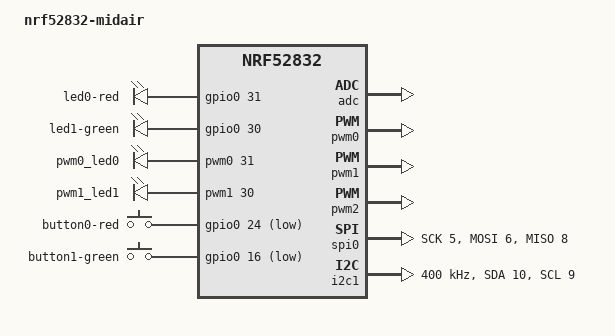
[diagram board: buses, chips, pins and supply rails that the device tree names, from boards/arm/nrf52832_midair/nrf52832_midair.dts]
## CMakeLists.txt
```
# nrf52832-midair configuration
#
# Copyright (c) 2020 Andrew Fernandes <andrew@fernandes.org>
# SPDX-License-Identifier: Apache-2.0

cmake_minimum_required(VERSION 3.17.1)

# -----------------------------------------------------------------------------

# Set the 'BOARD_ROOT' property for CLion
set(BOARD_ROOT "$ENV{PROJECT_DIR}")

# The C++ Standard version is set in 'prj.conf' via the 'CONFIG_STD_CPP17' setting
#
set_property(GLOBAL PROPERTY CSTD "gnu17") # https://gcc.gnu.org/onlinedocs/gcc/Standards.html

# https://docs.zephyrproject.org/latest/guides/modules.html#without-west
#
# See the list of current modules in "${CMAKE_SOURCE_DIR}/zephyr/west.yml"
#
set(ZEPHYR_MODULES
    "${CMAKE_SOURCE_DIR}/modules/cmsis"
    "${CMAKE_SOURCE_DIR}/modules/nordic"
    "${CMAKE_SOURCE_DIR}/modules/segger"
    "${CMAKE_SOURCE_DIR}/modules/stmemsc"
)
#
include($ENV{ZEPHYR_BASE}/cmake/app/boilerplate.cmake NO_POLICY_SCOPE)

# -----------------------------------------------------------------------------

project(midair)

include_directories(
    "src"
    "src/dev"
    "src/ble"
)

set(CXX_SOURCES
    "src/main.cpp"
    "src/dev/devices.cpp"
    "src/dev/leds.cpp"
    "src/dev/buttons.cpp"
    "src/dev/battery.cpp"
    "src/dev/lsm6dsox.cpp"
    "src/dev/mmc5883ma.cpp"
)

target_sources(app PRIVATE ${CXX_SOURCES})

# -----------------------------------------------------------------------------
# Done
```

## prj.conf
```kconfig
# nrf52832-midair configuration
#
# Copyright (c) 2020 Andrew Fernandes <andrew@fernandes.org>
# SPDX-License-Identifier: Apache-2.0

CONFIG_BOOTLOADER_MCUBOOT=n

CONFIG_DEBUG_INFO=y
CONFIG_DEBUG_OPTIMIZATIONS=y
CONFIG_SPEED_OPTIMIZATIONS=n
CONFIG_SIZE_OPTIMIZATIONS=n

CONFIG_LOG=y
CONFIG_LOG_PRINTK=y
CONFIG_LOG_BUFFER_SIZE=2048
CONFIG_LOG_STRDUP_MAX_STRING=256
CONFIG_LOG_PRINTK_MAX_STRING_LENGTH=256
CONFIG_LOG_PROCESS_THREAD_SLEEP_MS=100

CONFIG_CONSOLE=y
CONFIG_RTT_CONSOLE=y

CONFIG_USE_SEGGER_RTT=y

CONFIG_SEGGER_RTT_BUFFER_SIZE_UP=2048
CONFIG_SEGGER_RTT_PRINTF_BUFFER_SIZE=256

CONFIG_MAIN_STACK_SIZE=2048
CONFIG_SYSTEM_WORKQUEUE_STACK_SIZE=4096

CONFIG_FLOAT=y
CONFIG_FP_SHARING=y

CONFIG_CPLUSPLUS=y
CONFIG_STD_CPP17=y
CONFIG_NEWLIB_LIBC=y
CONFIG_LIB_CPLUSPLUS=y
CONFIG_EXCEPTIONS=n
CONFIG_RTTI=n

#|CONFIG_BT=y
#|CONFIG_BT_DEBUG_LOG=n
#|#
#|#|CONFIG_BT_SMP=y
#|CONFIG_BT_CENTRAL=y
#|CONFIG_BT_GATT_CLIENT=y
#|CONFIG_BT_PERIPHERAL=y
#|#
#|CONFIG_BT_ATT_PREPARE_COUNT=5
#|CONFIG_BT_GAP_PERIPHERAL_PREF_PARAMS=y
#|CONFIG_BT_PERIPHERAL_PREF_MIN_INT=6
#|CONFIG_BT_PERIPHERAL_PREF_MAX_INT=12
#|CONFIG_BT_PERIPHERAL_PREF_SLAVE_LATENCY=0
#|CONFIG_BT_PERIPHERAL_PREF_TIMEOUT=200
#|#
#|CONFIG_BT_RX_BUF_LEN=258
#|CONFIG_BT_CTLR_TX_BUFFER_SIZE=251
#|CONFIG_BT_CTLR_DATA_LENGTH_MAX=251
#|#
#|CONFIG_BT_CTLR_CHAN_SEL_2=y
#|#
#|CONFIG_BT_GATT_DIS=y
#|CONFIG_BT_GATT_DIS_PNP=n
#|CONFIG_BT_DEVICE_NAME="midair"
#|#
#|CONFIG_BT_LL_SW_SPLIT=y
```

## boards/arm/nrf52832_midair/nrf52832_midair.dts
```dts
// nrf52832-midair configuration
//
// Copyright (c) 2020 Andrew Fernandes <andrew@fernandes.org>
// SPDX-License-Identifier: Apache-2.0

/dts-v1/;
#include <nordic/nrf52832_ciaa.dtsi>

/ {
    model = "nrf52832-midair";
    compatible = "fernandes,nrf52832-midair", "nordic,nrf52832-ciaa", "nordic,nrf52832", "nordic,nrf52";

    chosen {
        zephyr,sram = &sram0;
        zephyr,flash = &flash0;
        zephyr,code-partition = &slot0_partition;
    };

    leds {

        compatible = "gpio-leds";

        led0_red: led_0 {
            gpios = <&gpio0 31 (GPIO_ACTIVE_HIGH)>; // GPIO_OUTPUT
            label = "led0-red";
        };

        led1_green: led_1 {
            gpios = <&gpio0 30 (GPIO_ACTIVE_HIGH)>; // GPIO_OUTPUT
            label = "led1-green";
        };

    };

    pwmleds {

        compatible = "pwm-leds";

        pwm0_led0: pwm_led_0 {
            pwms = <&pwm0 31>;
        };

        pwm1_led1: pwm_led_1 {
            pwms = <&pwm1 30>;
        };

    };

    buttons {

        compatible = "gpio-keys";

        button0_red: button_0 {
            gpios = <&gpio0 24 (GPIO_ACTIVE_LOW | GPIO_PULL_UP)>; // GPIO_INPUT
            label = "button0-red";
        };

        button1_green: button_1 {
            gpios = <&gpio0 16 (GPIO_ACTIVE_LOW | GPIO_PULL_UP)>; // GPIO_INPUT
            label = "button1-green";
        };

    };

    aliases {

        led0 = &led0_red;
        led1 = &led1_green;

        led0-red   = &led0_red;
        led1-green = &led1_green;

        pwm0-led0 = &pwm0_led0;
        pwm1-led1 = &pwm1_led1;

        pwm0-red = &pwm0_led0;
        pwm1-green = &pwm1_led1;

        pwm0-led0-red = &pwm0_led0;
        pwm1-led1-green = &pwm1_led1;

        button0 = &button0_red;
        button1 = &button1_green;

        button0-red   = &button0_red;
        button1-green = &button1_green;

        sw0 = &button0_red;
        sw1 = &button1_green;

        sw0-red = &button0_red;
        sw1-green  = &button1_green;

    };

};

&gpio0 {
    status = "okay";
};

&gpiote {
    status = "okay";
};

&adc {
    status = "okay";
    label = "saadc-battery";
 // enable-gpios = <&gpio0 4 GPIO_INPUT>; // AIN2
};

&pwm0 {
    status = "okay";
    label = "pwm0-red";
    ch0-pin = <31>;
};

&pwm1 {
    status = "okay";
    label = "pwm1-green";
    ch0-pin = <30>;
};

&pwm2 {
    status = "okay";
};

&spi0 {
    status = "okay";
    label = "accelerometer";
    compatible = "nordic,nrf-spim";
    sck-pin  = <5>;
    mosi-pin = <6>;
    miso-pin = <8>;
    cs-gpios = <&gpio0 3 (GPIO_ACTIVE_LOW)>; // GPIO_OUTPUT
 // enable-gpios = <&gpio0 22 (GPIO_OUTPUT | GPIO_ACTIVE_LOW)>, // INT1
 //                <&gpio0  2 (GPIO_OUTPUT | GPIO_ACTIVE_LOW)>; // INT2
};

&i2c1 {
    status = "okay";
    label = "magnetometer";
    compatible = "nordic,nrf-twim";
    clock-frequency = <I2C_BITRATE_FAST>;
    scl-pin =  <9>; // P0.12 and P0.19 should be set as inputs with pull-up
    sda-pin = <10>; // P0.11 and P0.14 should be set as inputs with pull-up
 // enable-gpios = <&gpio0 12 (GPIO_INPUT | GPIO_ACTIVE_LOW | GPIO_PULL_UP)>, <&gpio0 19 (GPIO_INPUT | GPIO_ACTIVE_LOW | GPIO_PULL_UP)>, // SCL
 //                <&gpio0 11 (GPIO_INPUT | GPIO_ACTIVE_LOW | GPIO_PULL_UP)>, <&gpio0 14 (GPIO_INPUT | GPIO_ACTIVE_LOW | GPIO_PULL_UP)>, // SDA
 //                <&gpio0 26 (GPIO_INPUT | GPIO_ACTIVE_LOW)>; // INT
};

&timer1 {
	prescaler = <4>; // 0 -> 16 MHz, 4 -> 1 MHz
};

&timer2 {
	prescaler = <4>; // 0 -> 16 MHz, 4 -> 1 MHz
};

&timer3 {
	prescaler = <4>; // 0 -> 16 MHz, 4 -> 1 MHz
};

&timer4 {
	prescaler = <4>; // 0 -> 16 MHz, 4 -> 1 MHz
};

&flash0 {

    // https://docs.zephyrproject.org/latest/guides/dts/index.html#flash-partitions

    partitions {

        compatible = "fixed-partitions";
        #address-cells = <1>;
        #size-cells = <1>;

        boot_partition: partition@0 {
            label = "mcuboot";
            reg = <0x00000000 0xC000>;
        };

        slot0_partition: partition@c000 {
            label = "image-0";
            reg = <0x0000C000 0x32000>;
        };

        slot1_partition: partition@3e000 {
            label = "image-1";
            reg = <0x0003E000 0x32000>;
        };

        scratch_partition: partition@70000 {
            label = "image-scratch";
            reg = <0x00070000 0xA000>;
        };

        storage_partition: partition@7a000 {
            label = "storage";
            reg = <0x0007A000 0x00006000>;
        };

    };

};
```

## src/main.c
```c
//
// Copyright (c) 2019 Andrew Fernandes <andrew@fernandes.org>
//
// SPDX-License-Identifier: Apache-2.0
//
#include "main.h"
#include "init.h"

static void configure_spi(void);
static void configure_i2c(void);
static void configure_buttons(void);
static void button_changed(struct device *dev, struct gpio_callback *cb, u32_t pins);

static atomic_t red_btn_state = ATOMIC_INIT(0);
static atomic_t grn_btn_state = ATOMIC_INIT(0);

static struct spi_cs_control spi_cs = {
	.gpio_pin = DT_NORDIC_NRF_SPI_0_CS_GPIOS_PIN,
	.delay = 0, // microseconds
};

static struct spi_config spi_cfg = {
	.frequency = 8000000, // MHz
	.operation = SPI_OP_MODE_MASTER | SPI_TRANSFER_MSB | SPI_WORD_SET(8) | SPI_LINES_SINGLE,
	.cs = &spi_cs,
	.slave = 0,
};

LOG_MODULE_REGISTER(midair, LOG_LEVEL_DBG);

void main(void) {

    devices_init();

    configure_spi();
    configure_i2c();
    configure_buttons();

    u32_t count = 0;
    counter_start(dev.rtc2);

    while (true) {

        const bool current_red_btn_state = (bool)atomic_get(&red_btn_state);
        const bool current_grn_btn_state = (bool)atomic_get(&grn_btn_state);

        LOG_DBG("count: %u, rtc: 0x%08x, red: %u, green: %u",
            count, counter_read(dev.rtc2), current_red_btn_state, current_grn_btn_state);

        gpio_pin_write(dev.red_led, RED_LED_PIN,  (count & 1) || current_red_btn_state);
        gpio_pin_write(dev.grn_led, GRN_LED_PIN, !(count & 1) || current_grn_btn_state);

        k_sleep(1000); // milliseconds
        count++;

    }

}


static void configure_buttons(void) {

	static struct gpio_callback button_cb;

	gpio_pin_configure(dev.red_btn, RED_BTN_PIN, (GPIO_DIR_IN | GPIO_PUD_PULL_UP | GPIO_INT | GPIO_INT_DEBOUNCE | GPIO_INT_EDGE | GPIO_INT_DOUBLE_EDGE));
    gpio_pin_configure(dev.grn_btn, GRN_BTN_PIN, (GPIO_DIR_IN | GPIO_PUD_PULL_UP | GPIO_INT | GPIO_INT_DEBOUNCE | GPIO_INT_EDGE | GPIO_INT_DOUBLE_EDGE));

    gpio_init_callback(&button_cb, button_changed, BIT(RED_BTN_PIN) | BIT(GRN_BTN_PIN));

    gpio_add_callback(dev.red_btn, &button_cb);
    gpio_add_callback(dev.grn_btn, &button_cb);

	gpio_pin_enable_callback(dev.red_btn, RED_BTN_PIN);
	gpio_pin_enable_callback(dev.grn_btn, GRN_BTN_PIN);

}


static void button_changed(struct device *dev_btn, struct gpio_callback *cb, u32_t pins) {

    static char *state[2] = { "released", "pressed" };

    if (pins & BIT(RED_BTN_PIN)) {

        u32_t value;
        gpio_pin_read(dev_btn, RED_BTN_PIN, &value);
        value = value ? 0 : 1; // negated

        gpio_pin_write(dev.red_led, RED_LED_PIN, value);
        atomic_set(&red_btn_state, value);

        LOG_INF("red: %s", state[value]);

    }

    if (pins & BIT(GRN_BTN_PIN)) {

        u32_t value;
        gpio_pin_read(dev_btn, GRN_BTN_PIN, &value);
        value = value ? 0 : 1; // negated

        gpio_pin_write(dev.grn_led, GRN_LED_PIN, value);
        atomic_set(&grn_btn_state, value);

        LOG_INF("green: %s", state[value]);

    }

}


static void configure_spi(void) {

    // TODO: BOOT and SW_RESET on Register CTRL3_C (12h)

    spi_cs.gpio_dev = dev.spi0cs;

    const u8_t who_am_i_read_register = 0x80 | 0x0F;
    const u8_t lsm6dsox = 0x6C;

    u8_t tx_buffer[] = { who_am_i_read_register, CONFIG_SPI_0_NRF_ORC };
    u8_t rx_buffer[] = { 0, 0 };

    const struct spi_buf tx_buffers[] = {
		{
			.buf = tx_buffer,
			.len = ARRAY_SIZE(tx_buffer)
		},
	};
	const struct spi_buf rx_buffers[] = {
		{
			.buf = rx_buffer,
			.len = ARRAY_SIZE(rx_buffer)
		},
	};
	const struct spi_buf_set tx = {
		.buffers = tx_buffers,
		.count = ARRAY_SIZE(tx_buffers)
	};
	const struct spi_buf_set rx = {
		.buffers = rx_buffers,
		.count = ARRAY_SIZE(rx_buffers)
	};

    int rv = spi_transceive(dev.spi0, &spi_cfg, &tx, &rx);

    LOG_INF("spi_transceive: %d, rx_data: 0x%02X -> %s", rv, rx_buffer[1],
        rx_buffer[1] == lsm6dsox ? "SUCCESS" : "FAILURE");

}


static void configure_i2c(void) {

    // TODO: Fully software-reset the device

    const u16_t mmc5883ma_i2c_addr = 0b0110000;

    const u8_t mmc5883ma_product_id1_register = 0x2F;
    const u8_t mmc5883ma_product_id1_reset_value = 0b00001100;

    const u32_t i2c1_cfg = I2C_SPEED_SET(I2C_SPEED_FAST) | I2C_MODE_MASTER;

    const bool i2c1_configured = !i2c_configure(dev.i2c1, i2c1_cfg);
    LOG_DBG("dev.i2c1: %p, configured: %s", dev.i2c1, i2c1_configured ? "TRUE" : "FALSE");

    u8_t rx_buffer[1] = { 0 };
    int rv = i2c_burst_read(dev.i2c1, mmc5883ma_i2c_addr, mmc5883ma_product_id1_register, rx_buffer, 1);

    LOG_INF("i2c_burst_read: %d, rx_data: 0x%02X -> %s", rv, rx_buffer[0],
        rx_buffer[0] == mmc5883ma_product_id1_reset_value ? "SUCCESS" : "FAILURE");

}
```

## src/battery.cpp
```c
#include "battery.hpp"

LOG_MODULE_DECLARE(midair, LOG_LEVEL_DBG);

//----------------------------------------------------------------------

// The SAADC effective number of bits (ENOB) without oversampling is nine.
// So higher resolutions - usually 10, 12, or 14 - require oversampling.
//
static const u8_t bits_resolution = 14;

// // voltage = factor * sample_reading
//
static const float factor = 3.0f / float(1 << (bits_resolution - 1));

// For more information, see the blog post at
// https://devzone.nordicsemi.com/nordic/nordic-blog/b/blog/posts/measuring-lithium-battery-voltage-with-nrf52
// since this is similar to what we have done.

//----------------------------------------------------------------------

// We technically do not need a buffer here, but this kind of setup is
// useful if, for some reason, we some day want to do multiple readings.

static const size_t n_samples = 1;
static s16_t sample_buffer[n_samples] = { 0 };

//----------------------------------------------------------------------

extern "C" enum adc_action adc_callback(
				struct device *dev,
				const struct adc_sequence *sequence,
				u16_t sampling_index) {

    char voltage[32];
    gcvtf(factor * float(sample_buffer[0]), 9, voltage);
    LOG_DBG("saadc: (%d/%u)*6 V = %s V", sample_buffer[0], (1 << bits_resolution), log_strdup(voltage));
    return ADC_ACTION_CONTINUE;

}

//----------------------------------------------------------------------

static const struct adc_channel_cfg channel_cfg = {
	.gain             = ADC_GAIN_1_5,
	.reference        = ADC_REF_INTERNAL,
	.acquisition_time = ADC_ACQ_TIME(ADC_ACQ_TIME_MICROSECONDS, 3),
	.channel_id       = to_underlying(BATTERY_ADC_INPUT),
	.input_positive   = BATTERY_ADC_INPUT,
    .input_negative   = NRF_SAADC_INPUT_DISABLED
};

static const struct adc_sequence_options options = {
    .interval_us     = 0,
    .callback        = adc_callback,
    .extra_samplings = n_samples - 1,
};

static const struct adc_sequence sequence = {
    .options      = &options,
    .channels     = BIT(channel_cfg.channel_id),
    .buffer       = sample_buffer,
    .buffer_size  = sizeof(sample_buffer),
    .resolution   = bits_resolution,
    .oversampling = 5,    // the actual factor is 2^.oversampling
    .calibrate    = true, // temperature compensation calibration
};

//----------------------------------------------------------------------

extern "C" void battery_work_handler(struct k_work *work)
{
    insist(adc_read(dev.saadc0, &sequence));
}

K_WORK_DEFINE(battery_work, battery_work_handler);

extern "C" void battery_timer_handler(struct k_timer *dummy)
{
    k_work_submit(&battery_work);
}

K_TIMER_DEFINE(battery_timer, battery_timer_handler, NULL);

//----------------------------------------------------------------------

void configure_battery(void) {

    insist(adc_channel_setup(dev.saadc0, &channel_cfg));

    LOG_DBG("battery voltage sensor configured");

    k_timer_start(&battery_timer, K_SECONDS(1), K_SECONDS(60));

    LOG_DBG("battery timer work queue started");

}

//----------------------------------------------------------------------
```

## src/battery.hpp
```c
#pragma once

//----------------------------------------------------------------------

#include "main.hpp"
#include "devices.hpp"

void configure_battery(void);

//----------------------------------------------------------------------
```

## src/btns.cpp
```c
#include "btns.hpp"

LOG_MODULE_DECLARE(midair, LOG_LEVEL_DBG);

atomic_t red_btn_state = ATOMIC_INIT(0);
atomic_t grn_btn_state = ATOMIC_INIT(0);

// TODO: START HERE
```

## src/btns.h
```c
#ifndef BTNS_H
#define BTNS_H

#include "main.h"

//----------------------------------------------------------------------
#ifdef __cplusplus
extern "C" {
#endif
//----------------------------------------------------------------------

enum btn_color {
    red, grn
};

//----------------------------------------------------------------------
#ifdef __cplusplus
}
#endif
//----------------------------------------------------------------------
#endif // BTNS_H
```

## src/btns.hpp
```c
#pragma once
//----------------------------------------------------------------------

#include "main.hpp"

#define RED_BTN_PIN DT_GPIO_KEYS_BUTTON0_RED_GPIO_PIN
#define GRN_BTN_PIN DT_GPIO_KEYS_BUTTON1_GREEN_GPIO_PIN

enum class btn_pin : u32_t {
    red = RED_BTN_PIN,
    green = GRN_BTN_PIN,
};

extern atomic_t red_btn_state;
extern atomic_t grn_btn_state;

inline bool get_red_btn_state(void) {
    return bool(atomic_get(&red_btn_state));
}

inline bool get_grn_btn_state(void) {
    return bool(atomic_get(&grn_btn_state));
}

// TODO: START HERE

//----------------------------------------------------------------------
```

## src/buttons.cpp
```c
#include "buttons.hpp"

LOG_MODULE_DECLARE(midair, LOG_LEVEL_DBG);

//----------------------------------------------------------------------

atomic_t red_btn_state = ATOMIC_INIT(0);
atomic_t grn_btn_state = ATOMIC_INIT(0);

static struct gpio_callback button_cb;
static const char * const state[2] = { "released", "pressed" };

//----------------------------------------------------------------------

static void button_changed(struct device *dev_btn, struct gpio_callback *cb, u32_t pins) {

    if (pins & BIT(RED_BTN_PIN)) {

        u32_t value;
        insist(gpio_pin_read(dev_btn, RED_BTN_PIN, &value));
        value = value ? 0 : 1; // negated

        insist(gpio_pin_write(dev.red_led, RED_LED_PIN, value));
        atomic_set(&red_btn_state, value);

        LOG_INF("red: %s", state[value]);

    }

    if (pins & BIT(GRN_BTN_PIN)) {

        u32_t value;
        insist(gpio_pin_read(dev_btn, GRN_BTN_PIN, &value));
        value = value ? 0 : 1; // negated

        insist(gpio_pin_write(dev.grn_led, GRN_LED_PIN, value));
        atomic_set(&grn_btn_state, value);

        LOG_INF("green: %s", state[value]);

    }

}

//----------------------------------------------------------------------

void configure_buttons(void) {

    insist(gpio_pin_configure(dev.red_btn, RED_BTN_PIN, (GPIO_DIR_IN | GPIO_PUD_PULL_UP | GPIO_INT | GPIO_INT_DEBOUNCE | GPIO_INT_EDGE | GPIO_INT_DOUBLE_EDGE)));
    insist(gpio_pin_configure(dev.grn_btn, GRN_BTN_PIN, (GPIO_DIR_IN | GPIO_PUD_PULL_UP | GPIO_INT | GPIO_INT_DEBOUNCE | GPIO_INT_EDGE | GPIO_INT_DOUBLE_EDGE)));

    gpio_init_callback(&button_cb, button_changed, BIT(RED_BTN_PIN) | BIT(GRN_BTN_PIN));

    insist(gpio_add_callback(dev.red_btn, &button_cb));
    insist(gpio_add_callback(dev.grn_btn, &button_cb));

	insist(gpio_pin_enable_callback(dev.red_btn, RED_BTN_PIN));
	insist(gpio_pin_enable_callback(dev.grn_btn, GRN_BTN_PIN));

    LOG_DBG("all buttons successfully configured");

}

//----------------------------------------------------------------------
```

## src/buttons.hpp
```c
#pragma once

//----------------------------------------------------------------------

#include "main.hpp"
#include "devices.hpp"

#define RED_BTN_PIN DT_GPIO_KEYS_BUTTON0_RED_GPIO_PIN
#define GRN_BTN_PIN DT_GPIO_KEYS_BUTTON1_GREEN_GPIO_PIN

enum class btn_pin : u32_t {
    red = RED_BTN_PIN,
    green = GRN_BTN_PIN,
};

extern atomic_t red_btn_state;
extern atomic_t grn_btn_state;

inline bool get_red_btn_state(void) {
    return bool(atomic_get(&red_btn_state));
}

inline bool get_grn_btn_state(void) {
    return bool(atomic_get(&grn_btn_state));
}

void configure_buttons(void);

//----------------------------------------------------------------------
```

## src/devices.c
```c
#include "main.h"

LOG_MODULE_DECLARE(midair);

struct devices dev = {  };

static atomic_t is_initialized = ATOMIC_INIT(false);;

#define DEVICE_GET_BINDING(var, label)   \
    (var) = device_get_binding((label)); \
    if ((var) == NULL) {                                       \
        LOG_ERR("device_get_binding(\"%s\") failed", (label)); \
        k_panic();                                             \
    }

static void configure_gpio_pins(void);
static void verify_counter_configs(void);

void devices_init(void) {

    if (atomic_get(&is_initialized)) return;

    DEVICE_GET_BINDING(dev.gpio0, DT_NORDIC_NRF_GPIO_0_LABEL);

    DEVICE_GET_BINDING(dev.red_led, RED_LED_CONTROLLER);
    DEVICE_GET_BINDING(dev.grn_led, GRN_LED_CONTROLLER);

    DEVICE_GET_BINDING(dev.red_btn, RED_BTN_CONTROLLER);
    DEVICE_GET_BINDING(dev.grn_btn, GRN_BTN_CONTROLLER);

    DEVICE_GET_BINDING(dev.saadc0, DT_NORDIC_NRF_SAADC_0_LABEL);

    DEVICE_GET_BINDING(dev.spi0, DT_SPI_0_NAME);
    DEVICE_GET_BINDING(dev.spi0cs, DT_NORDIC_NRF_SPI_0_CS_GPIOS_CONTROLLER);

    DEVICE_GET_BINDING(dev.i2c1, DT_I2C_1_NAME);

    DEVICE_GET_BINDING(dev.rtc2, DT_NORDIC_NRF_RTC_RTC_2_LABEL);

    DEVICE_GET_BINDING(dev.timer1, DT_NORDIC_NRF_TIMER_TIMER_1_LABEL);
    DEVICE_GET_BINDING(dev.timer2, DT_NORDIC_NRF_TIMER_TIMER_2_LABEL);
    DEVICE_GET_BINDING(dev.timer3, DT_NORDIC_NRF_TIMER_TIMER_3_LABEL);
    DEVICE_GET_BINDING(dev.timer4, DT_NORDIC_NRF_TIMER_TIMER_4_LABEL);

    configure_gpio_pins();
    verify_counter_configs();

    atomic_set(&is_initialized, true);

}


// Santity check the hard-coded pin numbers, below:
//
STATIC_ASSERT(DT_NORDIC_NRF_SPI_0_CS_GPIOS_PIN == 3);
STATIC_ASSERT(DT_NORDIC_NRF_I2C_I2C_1_SCL_PIN ==  9);
STATIC_ASSERT(DT_NORDIC_NRF_I2C_I2C_1_SDA_PIN == 10);
//
static void configure_gpio_pins(void) {

    struct {

        struct device *port;
        u32_t pin;
        int flags;
        u32_t state;

    } const config[] = {

        // LED Output Pins ---------------------------------------------

        { dev.red_led, RED_LED_PIN, (GPIO_DIR_OUT | GPIO_PUD_NORMAL), 0 },
        { dev.grn_led, GRN_LED_PIN, (GPIO_DIR_OUT | GPIO_PUD_NORMAL), 0 },

        // Button Input Pins -------------------------------------------

	    { dev.red_btn, RED_BTN_PIN, (GPIO_DIR_IN | GPIO_PUD_PULL_UP) },
        { dev.grn_btn, GRN_BTN_PIN, (GPIO_DIR_IN | GPIO_PUD_PULL_UP) },

        // SSADC Pre-Configuration -------------------------------------

        { dev.gpio0,  4, (GPIO_DIR_IN | GPIO_PUD_NORMAL) },

        // LSM6DSOX Accelerometer --------------------------------------

        // Note that INT1 must be connected to logical zero or left floating
        // during power-on if the I2C or SPI busses are to be used or enabled.
        //
        // LSM6DSOX power-on states:
        //  - CS:   input with pull-up
        //  - INT1: input with pull-down
        //  - INT2: output forced to ground
        //
        // When set as outputs, the INT1 and INT2 lines are active-high.

        { dev.gpio0,  3, (GPIO_DIR_OUT | GPIO_PUD_NORMAL), 1 }, // spi0.cs
        { dev.gpio0, 22, (GPIO_DIR_IN  | GPIO_PUD_NORMAL) },    // spi0.int1
        { dev.gpio0,  2, (GPIO_DIR_IN  | GPIO_PUD_NORMAL) },    // spi0.int2

        // MMC5883MA Magnetometer --------------------------------------

        // Upon power-on the INT line is held as high-z until the interrupt
        // functions are enabled, whereupon it is actively driven high and
        // low, and is active-high.

        // Note that rather than using discrete components for additional
        // I2C pull-up resistors, the pull-ups of ganged GPIO lones are used
        // to set the resistance in parallel. The nRF52 series has pull-up
        // and pull-down resistors of 11k/13k/16k min/nominal/max value,
        // so the effective pull-up is one to one-third this value,
        // depending on how many lines are used.

        { dev.gpio0,  9, (GPIO_DIR_IN | GPIO_PUD_PULL_UP) },    // i2c1.scl
        { dev.gpio0, 10, (GPIO_DIR_IN | GPIO_PUD_PULL_UP) },    // i2c1.sda
        { dev.gpio0, 12, (GPIO_DIR_IN | GPIO_PUD_PULL_UP) },    // i2c1.scl.pullup
        { dev.gpio0, 19, (GPIO_DIR_IN | GPIO_PUD_PULL_UP) },    // i2c1.scl.pullup
        { dev.gpio0, 11, (GPIO_DIR_IN | GPIO_PUD_PULL_UP) },    // i2c1.sda.pullup
        { dev.gpio0, 14, (GPIO_DIR_IN | GPIO_PUD_PULL_UP) },    // i2c1.sda.pullup
        { dev.gpio0, 26, (GPIO_DIR_IN | GPIO_PUD_NORMAL)  },    // i2c1.int

        // -------------------------------------------------------------

    };

    for (u32_t i = 0; i < ARRAY_SIZE(config); i++) {

        int err;

        err = gpio_pin_configure(config[i].port, config[i].pin, config[i].flags);
        if (err != 0) {
            LOG_ERR("failed config[%u] pin %u with errno %d", i, config[i].pin, err);
            k_panic();
        }

        if (config[i].flags & GPIO_DIR_OUT) {

            err = gpio_pin_write(config[i].port, config[i].pin, config[i].state);
            if (err != 0) {
                LOG_ERR("failed config[%u] pin %u with errno %d", i, config[i].pin, err);
                k_panic();
            }

        }

    }

    k_sleep(100); // this delay ensures that the SPI and I2C bus states are reset

}


static void verify_counter_configs(void) {

    struct counter {

        struct device *port;
        u32_t frequency;
        bool is_counting_up;
        u8_t alarm_channels;
        u32_t top_value;

    } const config[] = {

        { .port = dev.rtc2,   .frequency = 32768,   .is_counting_up = true, .alarm_channels = 3, .top_value = 0x00FFFFFF },
        { .port = dev.timer1, .frequency = 1000000, .is_counting_up = true, .alarm_channels = 2, .top_value = 0xFFFFFFFF },
        { .port = dev.timer2, .frequency = 1000000, .is_counting_up = true, .alarm_channels = 2, .top_value = 0xFFFFFFFF },
        { .port = dev.timer3, .frequency = 1000000, .is_counting_up = true, .alarm_channels = 4, .top_value = 0xFFFFFFFF },
        { .port = dev.timer4, .frequency = 1000000, .is_counting_up = true, .alarm_channels = 4, .top_value = 0xFFFFFFFF },

    };

    for (u32_t i = 0; i < ARRAY_SIZE(config); i++) {

        struct device *port = config[i].port;

        struct counter instance = {
            .port = port,
            .frequency = counter_get_frequency(port),
            .is_counting_up = counter_is_counting_up(port),
            .alarm_channels = counter_get_num_of_channels(port),
            .top_value = counter_get_top_value(port),
        };

        if (
            (instance.port != config[i].port) ||
            (instance.frequency != config[i].frequency) ||
            (instance.is_counting_up != config[i].is_counting_up) ||
            (instance.alarm_channels != config[i].alarm_channels) ||
            (instance.top_value != config[i].top_value)
        ) {

            LOG_ERR("counter[%u] want: { frequency: %u, is_counting_up: %d, alarm_channels: %d, top_value: 0x%08x }", i, config[i].frequency, config[i].is_counting_up, config[i].alarm_channels, config[i].top_value);
            LOG_ERR("counter[%u] have: { frequency: %u, is_counting_up: %d, alarm_channels: %d, top_value: 0x%08x }", i,  instance.frequency,  instance.is_counting_up,  instance.alarm_channels,  instance.top_value);
            k_panic();

        }

    }

}
```

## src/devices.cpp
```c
#include "devices.hpp"

LOG_MODULE_DECLARE(midair, LOG_LEVEL_DBG);

//----------------------------------------------------------------------

struct devices dev = {  };

static atomic_t is_initialized = ATOMIC_INIT(false);;

#define DEVICE_GET_BINDING(port, name)   \
    (port) = device_get_binding((name)); \
    if (unlikely((port) == NULL)) {                           \
        LOG_ERR("device_get_binding(\"%s\") failed", (name)); \
        sys_panic();                                            \
    }

//----------------------------------------------------------------------

static void configure_gpio_pins(void);

static void verify_pwm_configs(void);
static void verify_counter_configs(void);

//----------------------------------------------------------------------

void devices_init(void) {

    if (atomic_get(&is_initialized)) return;

    DEVICE_GET_BINDING(dev.entropy, CONFIG_ENTROPY_NAME);

    DEVICE_GET_BINDING(dev.gpio0, DT_NORDIC_NRF_GPIO_0_LABEL);

    DEVICE_GET_BINDING(dev.red_led, DT_GPIO_LEDS_LED0_RED_GPIO_CONTROLLER);
    DEVICE_GET_BINDING(dev.grn_led, DT_GPIO_LEDS_LED1_GREEN_GPIO_CONTROLLER);

    DEVICE_GET_BINDING(dev.red_pwm, DT_NORDIC_NRF_PWM_0_LABEL);
    DEVICE_GET_BINDING(dev.grn_pwm, DT_NORDIC_NRF_PWM_1_LABEL);

    DEVICE_GET_BINDING(dev.red_btn, DT_GPIO_KEYS_BUTTON0_RED_GPIO_CONTROLLER);
    DEVICE_GET_BINDING(dev.grn_btn, DT_GPIO_KEYS_BUTTON1_GREEN_GPIO_CONTROLLER);

    DEVICE_GET_BINDING(dev.saadc0, DT_NORDIC_NRF_SAADC_0_LABEL);

    DEVICE_GET_BINDING(dev.spi0,   DT_NORDIC_NRF_SPI_SPI_0_LABEL);
    DEVICE_GET_BINDING(dev.spi0cs, DT_NORDIC_NRF_SPI_0_CS_GPIOS_CONTROLLER);

    DEVICE_GET_BINDING(dev.i2c1, DT_NORDIC_NRF_I2C_I2C_1_LABEL);

    DEVICE_GET_BINDING(dev.rtc2, DT_NORDIC_NRF_RTC_RTC_2_LABEL);

    DEVICE_GET_BINDING(dev.timer1, DT_NORDIC_NRF_TIMER_TIMER_1_LABEL);
    DEVICE_GET_BINDING(dev.timer2, DT_NORDIC_NRF_TIMER_TIMER_2_LABEL);
    DEVICE_GET_BINDING(dev.timer3, DT_NORDIC_NRF_TIMER_TIMER_3_LABEL);
    DEVICE_GET_BINDING(dev.timer4, DT_NORDIC_NRF_TIMER_TIMER_4_LABEL);

    configure_gpio_pins();

    verify_pwm_configs();
    verify_counter_configs();

    atomic_set(&is_initialized, true);

}

//----------------------------------------------------------------------

// Santity check the hard-coded pin numbers, below:
//
STATIC_ASSERT(DT_NORDIC_NRF_SPI_0_CS_GPIOS_PIN == 3);
STATIC_ASSERT(DT_NORDIC_NRF_I2C_I2C_1_SCL_PIN ==  9);
STATIC_ASSERT(DT_NORDIC_NRF_I2C_I2C_1_SDA_PIN == 10);
//
static void configure_gpio_pins(void) {

    struct {

        struct device *port;
        u32_t pin;
        int flags;
        u32_t state;

    } const config[] = {

        // LED Output Pins ---------------------------------------------

        { dev.red_led, RED_LED_PIN, (GPIO_DIR_OUT | GPIO_PUD_NORMAL), 0 },
        { dev.grn_led, GRN_LED_PIN, (GPIO_DIR_OUT | GPIO_PUD_NORMAL), 0 },

        // Button Input Pins -------------------------------------------

	    { dev.red_btn, RED_BTN_PIN, (GPIO_DIR_IN | GPIO_PUD_PULL_UP) },
        { dev.grn_btn, GRN_BTN_PIN, (GPIO_DIR_IN | GPIO_PUD_PULL_UP) },

        // SSADC Pre-Configuration -------------------------------------

        { dev.gpio0,  4, (GPIO_DIR_IN | GPIO_PUD_NORMAL) },

        // LSM6DSOX Accelerometer --------------------------------------

        // Note that INT1 must be connected to logical zero or left floating
        // during power-on if the I2C or SPI busses are to be used or enabled.
        //
        // LSM6DSOX power-on states:
        //  - CS:   input with pull-up
        //  - INT1: input with pull-down
        //  - INT2: output forced to ground
        //
        // When set as outputs, the INT1 and INT2 lines are active-high.

        { dev.gpio0,  3, (GPIO_DIR_OUT | GPIO_PUD_NORMAL), 1 }, // spi0.cs
        { dev.gpio0, 22, (GPIO_DIR_IN  | GPIO_PUD_NORMAL) },    // spi0.int1
        { dev.gpio0,  2, (GPIO_DIR_IN  | GPIO_PUD_NORMAL) },    // spi0.int2

        // MMC5883MA Magnetometer --------------------------------------

        // Upon power-on the INT line is held as high-z until the interrupt
        // functions are enabled, whereupon it is actively driven high and
        // low, and is active-high.

        // Note that rather than using discrete components for additional
        // I2C pull-up resistors, the pull-ups of ganged GPIO lones are used
        // to set the resistance in parallel. The nRF52 series has pull-up
        // and pull-down resistors of 11k/13k/16k min/nominal/max value,
        // so the effective pull-up is one to one-third this value,
        // depending on how many lines are used.

        { dev.gpio0,  9, (GPIO_DIR_IN | GPIO_PUD_PULL_UP) },    // i2c1.scl
        { dev.gpio0, 10, (GPIO_DIR_IN | GPIO_PUD_PULL_UP) },    // i2c1.sda
        { dev.gpio0, 12, (GPIO_DIR_IN | GPIO_PUD_PULL_UP) },    // i2c1.scl.pullup
        { dev.gpio0, 19, (GPIO_DIR_IN | GPIO_PUD_PULL_UP) },    // i2c1.scl.pullup
        { dev.gpio0, 11, (GPIO_DIR_IN | GPIO_PUD_PULL_UP) },    // i2c1.sda.pullup
        { dev.gpio0, 14, (GPIO_DIR_IN | GPIO_PUD_PULL_UP) },    // i2c1.sda.pullup
        { dev.gpio0, 26, (GPIO_DIR_IN | GPIO_PUD_NORMAL)  },    // i2c1.int

        // -------------------------------------------------------------

    };

    for (u32_t i = 0; i < ARRAY_SIZE(config); i++) {

        int err;

        err = gpio_pin_configure(config[i].port, config[i].pin, config[i].flags);
        if (unlikely(err != 0)) {
            LOG_ERR("failed config[%u] pin %u with errno %d", i, config[i].pin, err);
            sys_panic();
        }

        if (config[i].flags & GPIO_DIR_OUT) {

            err = gpio_pin_write(config[i].port, config[i].pin, config[i].state);
            if (unlikely(err != 0)) {
                LOG_ERR("failed config[%u] pin %u with errno %d", i, config[i].pin, err);
                sys_panic();
            }

        }

    }

    k_sleep(100); // this delay ensures that the SPI and I2C bus states are reset

}

//----------------------------------------------------------------------

static void verify_pwm_configs(void) {

    struct {

        struct device *port;
        u32_t pin;

    } const config[] = {

        { dev.red_pwm, RED_LED_PIN },
        { dev.grn_pwm, GRN_LED_PIN },

    };

    for (u32_t i = 0; i < ARRAY_SIZE(config); i++) {

        int failed = true;

        u64_t cycles;
        failed = pwm_get_cycles_per_sec(config[i].port, config[i].pin, &cycles);

        if (unlikely(failed)) {
            LOG_ERR("pwm_get_cycles_per_sec failed for config[%u]", i);
            sys_panic();
        }

        if (unlikely(cycles != UINT64_C(16000000))) {
            LOG_ERR("unexpected pwm_get_cycles_per_sec: 0x%08x%08x", u32_t(cycles >> 32), u32_t(cycles));
            sys_panic();
        }

    }

}

//----------------------------------------------------------------------

static void verify_counter_configs(void) {

    struct counter {

        struct device *port;
        u32_t frequency;
        bool is_counting_up;
        u8_t alarm_channels;
        u32_t top_value;

    } const config[] = {

        { .port = dev.rtc2,   .frequency = rtc2_frequency,   .is_counting_up = true, .alarm_channels = 3, .top_value = 0x00FFFFFF },
        { .port = dev.timer1, .frequency = timer1_frequency, .is_counting_up = true, .alarm_channels = 2, .top_value = 0xFFFFFFFF },
        { .port = dev.timer2, .frequency = timer2_frequency, .is_counting_up = true, .alarm_channels = 2, .top_value = 0xFFFFFFFF },
        { .port = dev.timer3, .frequency = timer3_frequency, .is_counting_up = true, .alarm_channels = 4, .top_value = 0xFFFFFFFF },
        { .port = dev.timer4, .frequency = timer4_frequency, .is_counting_up = true, .alarm_channels = 4, .top_value = 0xFFFFFFFF },

    };

    for (u32_t i = 0; i < ARRAY_SIZE(config); i++) {

        struct device *port = config[i].port;

        struct counter instance = {
            .port = port,
            .frequency = counter_get_frequency(port),
            .is_counting_up = counter_is_counting_up(port),
            .alarm_channels = counter_get_num_of_channels(port),
            .top_value = counter_get_top_value(port),
        };

        if (unlikely(
            (instance.port != config[i].port) ||
            (instance.frequency != config[i].frequency) ||
            (instance.is_counting_up != config[i].is_counting_up) ||
            (instance.alarm_channels != config[i].alarm_channels) ||
            (instance.top_value != config[i].top_value)
        )) {

            LOG_ERR("counter[%u] want: { frequency: %u, is_counting_up: %d, alarm_channels: %d, top_value: 0x%08x }", i, config[i].frequency, config[i].is_counting_up, config[i].alarm_channels, config[i].top_value);
            LOG_ERR("counter[%u] have: { frequency: %u, is_counting_up: %d, alarm_channels: %d, top_value: 0x%08x }", i,  instance.frequency,  instance.is_counting_up,  instance.alarm_channels,  instance.top_value);
            sys_panic();

        }

    }

}

//----------------------------------------------------------------------
```

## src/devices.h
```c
#ifndef DEVICES_H
#define DEVICES_H

//----------------------------------------------------------------------

struct devices {

    struct device *gpio0;

    struct device *red_led;
    struct device *grn_led;

    struct device *red_btn;
    struct device *grn_btn;

    struct device *saadc0;

    struct device *spi0;
    struct device *spi0cs;

    struct device *i2c1;

    // RTC0 is Reserved;
    // RTC1 is Reserved;
    struct device *rtc2;

    // TIMER0 is Reserved;
    struct device *timer1;
    struct device *timer2;
    struct device *timer3;
    struct device *timer4;

};

extern struct devices dev;

void devices_init(void);

//----------------------------------------------------------------------

#define RED_LED_CONTROLLER DT_GPIO_LEDS_LED0_RED_GPIO_CONTROLLER
#define RED_LED_PIN        DT_GPIO_LEDS_LED0_RED_GPIO_PIN

#define GRN_LED_CONTROLLER DT_GPIO_LEDS_LED1_GREEN_GPIO_CONTROLLER
#define GRN_LED_PIN        DT_GPIO_LEDS_LED1_GREEN_GPIO_PIN

#define RED_BTN_CONTROLLER DT_GPIO_KEYS_BUTTON0_RED_GPIO_CONTROLLER
#define RED_BTN_PIN        DT_GPIO_KEYS_BUTTON0_RED_GPIO_PIN

#define GRN_BTN_CONTROLLER DT_GPIO_KEYS_BUTTON1_GREEN_GPIO_CONTROLLER
#define GRN_BTN_PIN        DT_GPIO_KEYS_BUTTON1_GREEN_GPIO_PIN

//----------------------------------------------------------------------

#endif // DEVICES_H
```

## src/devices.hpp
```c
#pragma once

//----------------------------------------------------------------------

#include "main.hpp"

struct devices {

    struct device *entropy;

    struct device *gpio0;

    struct device *red_led;
    struct device *grn_led;

    struct device *red_pwm;
    struct device *grn_pwm;

    struct device *red_btn;
    struct device *grn_btn;

    struct device *saadc0;

    struct device *spi0;
    struct device *spi0cs;

    struct device *i2c1;

    // RTC0 is Reserved;
    // RTC1 is Reserved;
    struct device *rtc2;

    // TIMER0 is Reserved;
    struct device *timer1;
    struct device *timer2;
    struct device *timer3;
    struct device *timer4;

};

extern struct devices dev;

void devices_init(void);

//----------------------------------------------------------------------

const u32_t rtc2_frequency = 32768; // Hz
const float rtc2_rate = 1.0f / float(rtc2_frequency);

const u32_t timer1_frequency = 1000000; // Hz
const u32_t timer2_frequency = 1000000; // Hz
const u32_t timer3_frequency = 1000000; // Hz
const u32_t timer4_frequency = 1000000; // Hz

//----------------------------------------------------------------------

#define RED_LED_PIN DT_GPIO_LEDS_LED0_RED_GPIO_PIN
#define GRN_LED_PIN DT_GPIO_LEDS_LED1_GREEN_GPIO_PIN

#define RED_LED_PWM DT_NORDIC_NRF_PWM_0_LABEL
#define GRN_LED_PWM DT_NORDIC_NRF_PWM_1_LABEL

#define RED_BTN_PIN DT_GPIO_KEYS_BUTTON0_RED_GPIO_PIN
#define GRN_BTN_PIN DT_GPIO_KEYS_BUTTON1_GREEN_GPIO_PIN

//----------------------------------------------------------------------
```

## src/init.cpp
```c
#include "init.hpp"

LOG_MODULE_DECLARE(midair, LOG_LEVEL_DBG);

struct devices dev = {  };

static atomic_t is_initialized = ATOMIC_INIT(false);;

#define DEVICE_GET_BINDING(port, name)   \
    (port) = device_get_binding((name)); \
    if (unlikely((port) == NULL)) {                           \
        LOG_ERR("device_get_binding(\"%s\") failed", (name)); \
        k_panic();                                            \
    }

static void configure_gpio_pins(void);

static void verify_pwm_configs(void);
static void verify_counter_configs(void);

void devices_init(void) {

    if (atomic_get(&is_initialized)) return;

    DEVICE_GET_BINDING(dev.entropy, CONFIG_ENTROPY_NAME);

    DEVICE_GET_BINDING(dev.gpio0, DT_NORDIC_NRF_GPIO_0_LABEL);

    DEVICE_GET_BINDING(dev.red_led, DT_GPIO_LEDS_LED0_RED_GPIO_CONTROLLER);
    DEVICE_GET_BINDING(dev.grn_led, DT_GPIO_LEDS_LED1_GREEN_GPIO_CONTROLLER);

    DEVICE_GET_BINDING(dev.pwm0, DT_NORDIC_NRF_PWM_0_LABEL);
    DEVICE_GET_BINDING(dev.pwm1, DT_NORDIC_NRF_PWM_1_LABEL);

    DEVICE_GET_BINDING(dev.red_btn, DT_GPIO_KEYS_BUTTON0_RED_GPIO_CONTROLLER);
    DEVICE_GET_BINDING(dev.grn_btn, DT_GPIO_KEYS_BUTTON1_GREEN_GPIO_CONTROLLER);

    DEVICE_GET_BINDING(dev.saadc0, DT_NORDIC_NRF_SAADC_0_LABEL);

    DEVICE_GET_BINDING(dev.spi0,   DT_NORDIC_NRF_SPI_SPI_0_LABEL);
    DEVICE_GET_BINDING(dev.spi0cs, DT_NORDIC_NRF_SPI_0_CS_GPIOS_CONTROLLER);

    DEVICE_GET_BINDING(dev.i2c1, DT_NORDIC_NRF_I2C_I2C_1_LABEL);

    DEVICE_GET_BINDING(dev.rtc2, DT_NORDIC_NRF_RTC_RTC_2_LABEL);

    DEVICE_GET_BINDING(dev.timer1, DT_NORDIC_NRF_TIMER_TIMER_1_LABEL);
    DEVICE_GET_BINDING(dev.timer2, DT_NORDIC_NRF_TIMER_TIMER_2_LABEL);
    DEVICE_GET_BINDING(dev.timer3, DT_NORDIC_NRF_TIMER_TIMER_3_LABEL);
    DEVICE_GET_BINDING(dev.timer4, DT_NORDIC_NRF_TIMER_TIMER_4_LABEL);

    configure_gpio_pins();

    verify_pwm_configs();
    verify_counter_configs();

    atomic_set(&is_initialized, true);

}


// Santity check the hard-coded pin numbers, below:
//
STATIC_ASSERT(DT_NORDIC_NRF_SPI_0_CS_GPIOS_PIN == 3);
STATIC_ASSERT(DT_NORDIC_NRF_I2C_I2C_1_SCL_PIN ==  9);
STATIC_ASSERT(DT_NORDIC_NRF_I2C_I2C_1_SDA_PIN == 10);
//
static void configure_gpio_pins(void) {

    struct {

        struct device *port;
        u32_t pin;
        int flags;
        u32_t state;

    } const config[] = {

        // LED Output Pins ---------------------------------------------

        { dev.red_led, RED_LED_PIN, (GPIO_DIR_OUT | GPIO_PUD_NORMAL), 0 },
        { dev.grn_led, GRN_LED_PIN, (GPIO_DIR_OUT | GPIO_PUD_NORMAL), 0 },

        // Button Input Pins -------------------------------------------

	    { dev.red_btn, RED_BTN_PIN, (GPIO_DIR_IN | GPIO_PUD_PULL_UP) },
        { dev.grn_btn, GRN_BTN_PIN, (GPIO_DIR_IN | GPIO_PUD_PULL_UP) },

        // SSADC Pre-Configuration -------------------------------------

        { dev.gpio0,  4, (GPIO_DIR_IN | GPIO_PUD_NORMAL) },

        // LSM6DSOX Accelerometer --------------------------------------

        // Note that INT1 must be connected to logical zero or left floating
        // during power-on if the I2C or SPI busses are to be used or enabled.
        //
        // LSM6DSOX power-on states:
        //  - CS:   input with pull-up
        //  - INT1: input with pull-down
        //  - INT2: output forced to ground
        //
        // When set as outputs, the INT1 and INT2 lines are active-high.

        { dev.gpio0,  3, (GPIO_DIR_OUT | GPIO_PUD_NORMAL), 1 }, // spi0.cs
        { dev.gpio0, 22, (GPIO_DIR_IN  | GPIO_PUD_NORMAL) },    // spi0.int1
        { dev.gpio0,  2, (GPIO_DIR_IN  | GPIO_PUD_NORMAL) },    // spi0.int2

        // MMC5883MA Magnetometer --------------------------------------

        // Upon power-on the INT line is held as high-z until the interrupt
        // functions are enabled, whereupon it is actively driven high and
        // low, and is active-high.

        // Note that rather than using discrete components for additional
        // I2C pull-up resistors, the pull-ups of ganged GPIO lones are used
        // to set the resistance in parallel. The nRF52 series has pull-up
        // and pull-down resistors of 11k/13k/16k min/nominal/max value,
        // so the effective pull-up is one to one-third this value,
        // depending on how many lines are used.

        { dev.gpio0,  9, (GPIO_DIR_IN | GPIO_PUD_PULL_UP) },    // i2c1.scl
        { dev.gpio0, 10, (GPIO_DIR_IN | GPIO_PUD_PULL_UP) },    // i2c1.sda
        { dev.gpio0, 12, (GPIO_DIR_IN | GPIO_PUD_PULL_UP) },    // i2c1.scl.pullup
        { dev.gpio0, 19, (GPIO_DIR_IN | GPIO_PUD_PULL_UP) },    // i2c1.scl.pullup
        { dev.gpio0, 11, (GPIO_DIR_IN | GPIO_PUD_PULL_UP) },    // i2c1.sda.pullup
        { dev.gpio0, 14, (GPIO_DIR_IN | GPIO_PUD_PULL_UP) },    // i2c1.sda.pullup
        { dev.gpio0, 26, (GPIO_DIR_IN | GPIO_PUD_NORMAL)  },    // i2c1.int

        // -------------------------------------------------------------

    };

    for (u32_t i = 0; i < ARRAY_SIZE(config); i++) {

        int err;

        err = gpio_pin_configure(config[i].port, config[i].pin, config[i].flags);
        if (unlikely(err != 0)) {
            LOG_ERR("failed config[%u] pin %u with errno %d", i, config[i].pin, err);
            k_panic();
        }

        if (config[i].flags & GPIO_DIR_OUT) {

            err = gpio_pin_write(config[i].port, config[i].pin, config[i].state);
            if (unlikely(err != 0)) {
                LOG_ERR("failed config[%u] pin %u with errno %d", i, config[i].pin, err);
                k_panic();
            }

        }

    }

    k_sleep(100); // this delay ensures that the SPI and I2C bus states are reset

}


static void verify_pwm_configs(void) {

    struct {

        struct device *port;
        u32_t pin;

    } const config[] = {

        { dev.pwm0, to_underlying(led_pin::red) },
        { dev.pwm1, to_underlying(led_pin::green) },

    };

    for (u32_t i = 0; i < ARRAY_SIZE(config); i++) {

        u64_t cycles;
        int failed = pwm_get_cycles_per_sec(dev.pwm0, to_underlying(led_pin::red), &cycles);

        if (unlikely(failed)) {
            LOG_ERR("pwm_get_cycles_per_sec failed for config[%u]", i);
            k_panic();
        }

        if (unlikely(cycles != UINT64_C(16000000))) {
            LOG_ERR("unexpected pwm_get_cycles_per_sec: 0x%08x%08x", u32_t(cycles >> 32), u32_t(cycles));
            k_panic();
        }

    }

}


static void verify_counter_configs(void) {

    struct counter {

        struct device *port;
        u32_t frequency;
        bool is_counting_up;
        u8_t alarm_channels;
        u32_t top_value;

    } const config[] = {

        { .port = dev.rtc2,   .frequency = 32768,   .is_counting_up = true, .alarm_channels = 3, .top_value = 0x00FFFFFF },
        { .port = dev.timer1, .frequency = 1000000, .is_counting_up = true, .alarm_channels = 2, .top_value = 0xFFFFFFFF },
        { .port = dev.timer2, .frequency = 1000000, .is_counting_up = true, .alarm_channels = 2, .top_value = 0xFFFFFFFF },
        { .port = dev.timer3, .frequency = 1000000, .is_counting_up = true, .alarm_channels = 4, .top_value = 0xFFFFFFFF },
        { .port = dev.timer4, .frequency = 1000000, .is_counting_up = true, .alarm_channels = 4, .top_value = 0xFFFFFFFF },

    };

    for (u32_t i = 0; i < ARRAY_SIZE(config); i++) {

        struct device *port = config[i].port;

        struct counter instance = {
            .port = port,
            .frequency = counter_get_frequency(port),
            .is_counting_up = counter_is_counting_up(port),
            .alarm_channels = counter_get_num_of_channels(port),
            .top_value = counter_get_top_value(port),
        };

        if (unlikely(
            (instance.port != config[i].port) ||
            (instance.frequency != config[i].frequency) ||
            (instance.is_counting_up != config[i].is_counting_up) ||
            (instance.alarm_channels != config[i].alarm_channels) ||
            (instance.top_value != config[i].top_value)
        )) {

            LOG_ERR("counter[%u] want: { frequency: %u, is_counting_up: %d, alarm_channels: %d, top_value: 0x%08x }", i, config[i].frequency, config[i].is_counting_up, config[i].alarm_channels, config[i].top_value);
            LOG_ERR("counter[%u] have: { frequency: %u, is_counting_up: %d, alarm_channels: %d, top_value: 0x%08x }", i,  instance.frequency,  instance.is_counting_up,  instance.alarm_channels,  instance.top_value);
            k_panic();

        }

    }

}
```
